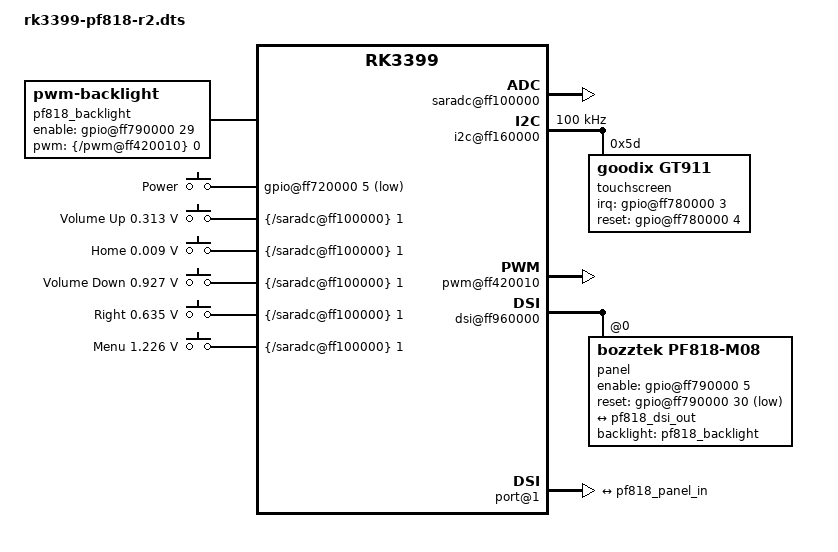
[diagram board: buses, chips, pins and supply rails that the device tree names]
/include/ "../round1/rk3399-pf818.dts"

&{/} {
    model = "Bozztek PF818 (SW799) R2";

    // DSI0's factory backlight reference points to backlight2 / PWM1.
    pf818_backlight: pf818-backlight {
        compatible = "pwm-backlight";
        pwms = <&{/pwm@ff420010} 0 500000 1>;
        enable-gpios = <&{/pinctrl/gpio@ff790000} 29 0>;
        brightness-levels = <0 16 32 64 96 128 160 192 224 255>;
        default-brightness-level = <7>;
        pinctrl-names = "default";
        pinctrl-0 = <&pf818_backlight_enable>;
    };

    pf818-keys {
        compatible = "gpio-keys";
        pinctrl-names = "default";
        pinctrl-0 = <&pf818_power_key>;
        power {
            label = "Power";
            linux,code = <116>;
            gpios = <&{/pinctrl/gpio@ff720000} 5 1>;
            debounce-interval = <30>;
            wakeup-source;
        };
    };

    pf818-adc-keys {
        compatible = "adc-keys";
        io-channels = <&{/saradc@ff100000} 1>;
        io-channel-names = "buttons";
        keyup-threshold-microvolt = <1800000>;
        poll-interval = <100>;
        // Factory ADC values, scaled from 10-bit samples with a 1.8 V reference.
        volume-up { label = "Volume Up"; linux,code = <115>; press-threshold-microvolt = <313196>; };
        home { label = "Home"; linux,code = <102>; press-threshold-microvolt = <8798>; };
        volume-down { label = "Volume Down"; linux,code = <114>; press-threshold-microvolt = <927273>; };
        right { label = "Right"; linux,code = <106>; press-threshold-microvolt = <635191>; };
        menu { label = "Menu"; linux,code = <59>; press-threshold-microvolt = <1226393>; };
    };
};

&{/pinctrl} {
    pf818-display {
        pf818_lcd_enable: lcd-enable {
            rockchip,pins = <4 5 0 &{/pinctrl/pcfg-pull-none}>;
        };
        pf818_lcd_reset: lcd-reset {
            rockchip,pins = <4 30 0 &{/pinctrl/pcfg-pull-none}>;
        };
        pf818_backlight_enable: backlight-enable {
            rockchip,pins = <4 29 0 &{/pinctrl/pcfg-pull-none}>;
        };
    };
    pf818-input {
        pf818_power_key: power-key {
            rockchip,pins = <0 5 0 &{/pinctrl/pcfg-pull-up}>;
        };
        pf818_touch_irq: touch-irq {
            rockchip,pins = <2 3 0 &{/pinctrl/pcfg-pull-up}>;
        };
        pf818_touch_reset: touch-reset {
            rockchip,pins = <2 4 0 &{/pinctrl/pcfg-pull-none}>;
        };
    };
};

&{/saradc@ff100000} {
    status = "okay";
    vref-supply = <&{/i2c@ff3c0000/pmic@1b/regulators/DCDC_REG4}>;
};

&{/i2c@ff160000} {
    status = "okay";
    clock-frequency = <100000>;
    touchscreen@5d {
        compatible = "goodix,gt911";
        reg = <0x5d>;
        interrupt-parent = <&{/pinctrl/gpio@ff780000}>;
        interrupts = <3 2>;
        irq-gpios = <&{/pinctrl/gpio@ff780000} 3 0>;
        reset-gpios = <&{/pinctrl/gpio@ff780000} 4 0>;
        AVDD28-supply = <&{/i2c@ff3c0000/pmic@1b/regulators/LDO_REG2}>;
        VDDIO-supply = <&{/i2c@ff3c0000/pmic@1b/regulators/LDO_REG3}>;
        pinctrl-names = "default";
        pinctrl-0 = <&pf818_touch_irq &pf818_touch_reset>;
        touchscreen-size-x = <1200>;
        touchscreen-size-y = <1920>;
    };
};

&{/pwm@ff420010} { status = "okay"; };
&{/vop@ff900000} { status = "okay"; };
&{/iommu@ff903f00} { status = "okay"; };
&{/display-subsystem} { status = "okay"; };

&{/dsi@ff960000} {
    status = "okay";
    #address-cells = <1>;
    #size-cells = <0>;

    panel@0 {
        compatible = "bozztek,pf818-m08";
        reg = <0>;
        enable-gpios = <&{/pinctrl/gpio@ff790000} 5 0>;
        reset-gpios = <&{/pinctrl/gpio@ff790000} 30 1>;
        backlight = <&pf818_backlight>;
        pinctrl-names = "default";
        pinctrl-0 = <&pf818_lcd_enable &pf818_lcd_reset>;

        port {
            pf818_panel_in: endpoint {
                remote-endpoint = <&pf818_dsi_out>;
            };
        };
    };
};

&{/dsi@ff960000/ports/port@1} {
    pf818_dsi_out: endpoint {
        remote-endpoint = <&pf818_panel_in>;
    };
};
&{/dsi@ff960000/ports/port@0/endpoint@1} { status = "disabled"; };
&{/vop@ff8f0000/port/endpoint@2} { status = "disabled"; };
